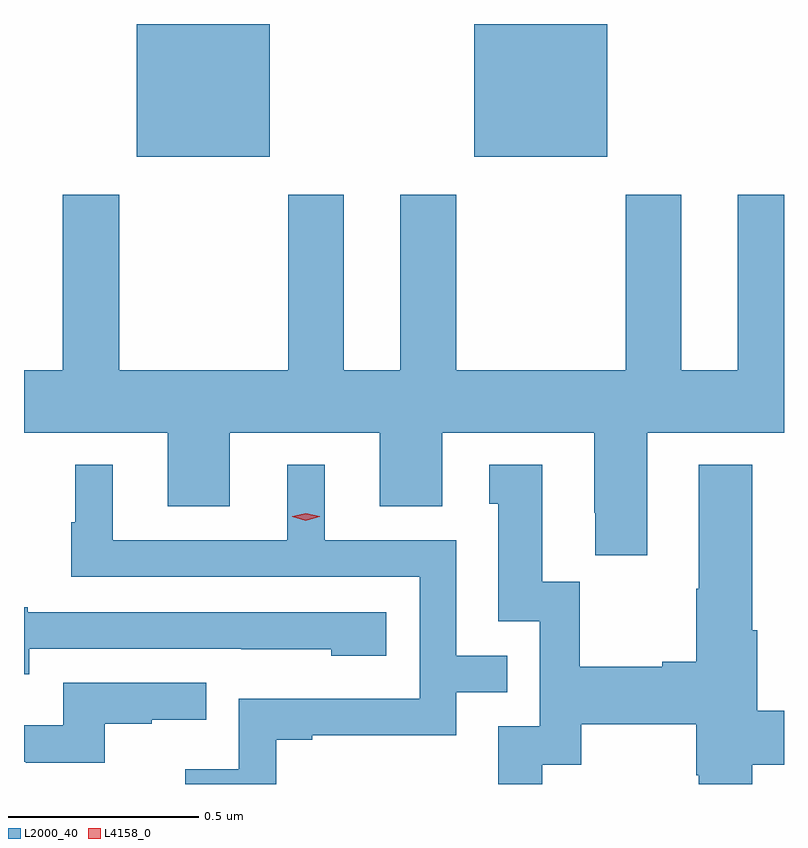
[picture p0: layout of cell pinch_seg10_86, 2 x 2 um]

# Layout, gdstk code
import gdstk
lib = gdstk.Library(unit=1e-6, precision=1e-09)
def R(c, l, rs):  # rectangles x0, y0, x1, y1
    for r in rs: c.add(gdstk.rectangle(r[:2], r[2:], *l))
def P(c, l, *ps):  # polygons
    for p in ps: c.add(gdstk.Polygon(p, *l))
L2000_40 = (2000, 40)
L4158_0 = (4158, 0)

pinch_seg10_86 = lib.new_cell('pinch_seg10_86')
R(pinch_seg10_86, L2000_40, [(749.21,1327.682,749.56,1328.031), (750.098,1327.682,750.448,1328.031)])
P(pinch_seg10_86, L2000_40, [(749.608,1327.582),(749.608,1327.12),(749.163,1327.12),(749.163,1327.582),(749.015,1327.582),(749.015,1327.12),(748.913,1327.12),(748.913,1326.956),(749.291,1326.956),(749.291,1326.762),(749.455,1326.762),(749.455,1326.956),(749.849,1326.956),(749.849,1326.762),(750.013,1326.762),(750.013,1326.956),(750.413,1326.956),(750.413,1326.745),(750.416,1326.745),(750.416,1326.633),(750.553,1326.633),(750.553,1326.956),(750.913,1326.956),(750.913,1327.582),(750.791,1327.582),(750.791,1327.12),(750.643,1327.12),(750.643,1327.582),(750.496,1327.582),(750.496,1327.12),(750.051,1327.12),(750.051,1327.582),(749.903,1327.582),(749.903,1327.12),(749.755,1327.12),(749.755,1327.582)],
  [(750.277,1326.082),(750.379,1326.082),(750.379,1326.188),(750.682,1326.188),(750.682,1326.054),(750.689,1326.054),(750.689,1326.031),(750.829,1326.031),(750.829,1326.082),(750.913,1326.082),(750.913,1326.224),(750.842,1326.224),(750.842,1326.436),(750.829,1326.436),(750.829,1326.871),(750.689,1326.871),(750.689,1326.545),(750.682,1326.545),(750.682,1326.353),(750.593,1326.353),(750.593,1326.34),(750.375,1326.34),(750.375,1326.563),(750.277,1326.563),(750.277,1326.871),(750.137,1326.871),(750.137,1326.768),(750.161,1326.768),(750.161,1326.459),(750.27,1326.459),(750.27,1326.183),(750.161,1326.183),(750.161,1326.031),(750.277,1326.031)],
  [(749.577,1326.147),(749.671,1326.147),(749.671,1326.159),(750.051,1326.159),(750.051,1326.273),(750.185,1326.273),(750.185,1326.369),(750.051,1326.369),(750.051,1326.672),(749.704,1326.672),(749.704,1326.871),(749.606,1326.871),(749.606,1326.672),(749.146,1326.672),(749.146,1326.871),(749.048,1326.871),(749.048,1326.72),(749.037,1326.72),(749.037,1326.576),(749.955,1326.576),(749.955,1326.255),(749.478,1326.255),(749.478,1326.07),(749.337,1326.07),(749.337,1326.031),(749.577,1326.031)],
  [(748.927,1326.387),(749.485,1326.387),(749.485,1326.386),(749.721,1326.386),(749.721,1326.368),(749.866,1326.368),(749.866,1326.483),(748.923,1326.483),(748.923,1326.496),(748.913,1326.496),(748.913,1326.32),(748.927,1326.32)],
  [(749.126,1326.189),(749.249,1326.189),(749.249,1326.2),(749.393,1326.2),(749.393,1326.297),(749.016,1326.297),(749.016,1326.185),(748.913,1326.185),(748.913,1326.09),(748.918,1326.09),(748.918,1326.087),(749.126,1326.087)])
P(pinch_seg10_86, L4158_0, [(749.655,1326.724),(749.619,1326.734),(749.619,1326.734),(749.619,1326.735),(749.655,1326.744),(749.691,1326.735),(749.691,1326.734),(749.691,1326.734)])

lib.write_gds('pinch_seg10_86.gds')
